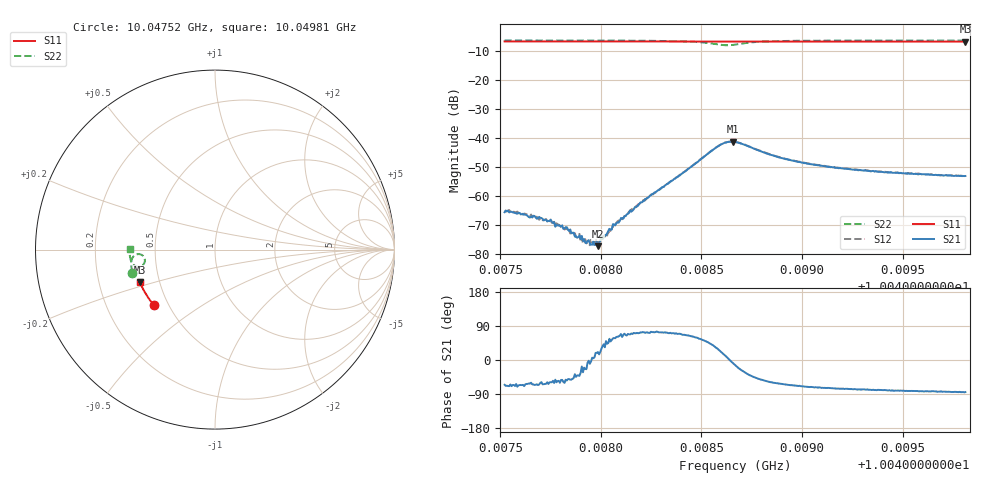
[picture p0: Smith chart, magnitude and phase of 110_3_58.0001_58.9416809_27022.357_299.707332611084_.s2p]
#  HZ  S  RI  R  50.00
! Rohde & Schwarz Vector Network Analyzer
! Rohde-Schwarz,ZNB20-2Port,1311601062101988,3.16
! Created: UTC 3/21/2024, 12:55:11 AM
! freq[Hz]  re:S11  im:S11  re:S21  im:S21  re:S12  im:S12  re:S22  im:S22
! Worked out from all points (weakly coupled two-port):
!   401 points, 10.04752 GHz to 10.04981 GHz, reference 50 ohm
!   highest |S21| = -41.32 dB at 10.04866 GHz (marker M1); lowest = -77.4 dB at 10.04798 GHz (marker M2)
!   lowest |S11| = -6.8 dB at 10.04981 GHz (marker M3), VSWR 2.68, Z = 19.4 - j8.95 ohm
!   |S11| at or under -10 dB: nowhere
!   |S22| runs from -8.1 to -6.4 dB; largest |S21 - S12| = 0.00057
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1.0047521e10  -0.3387 -0.3113  0.000217 -0.000475  0.000254 -0.00047  -0.4604 -0.1277
1.004763e10  -0.3434 -0.3056  0.00021 -0.000415  0.00022 -0.000425  -0.4621 -0.1198
1.0047756e10  -0.3489 -0.2992  0.000185 -0.000306  0.000184 -0.000289  -0.464 -0.1106
1.0047784e10  -0.3501 -0.2977  0.000175 -0.000254  0.000181 -0.000267  -0.4642 -0.1084
1.0047836e10  -0.3522 -0.295  0.000168 -0.000204  0.00018 -0.000185  -0.465 -0.1042
1.0047876e10  -0.3538 -0.2928  0.000143 -0.00014  0.000156 -0.000116  -0.4655 -0.1013
1.0047905e10  -0.3551 -0.2915  0.000194 -5.97e-05  0.000165 -9.04e-05  -0.4658 -0.0988
1.0047933e10  -0.3561 -0.2899  0.000165 -2.07e-05  0.000157 -1.64e-05  -0.466 -0.0966
1.0047962e10  -0.3573 -0.2883  0.000164 1.34e-05  0.000144 5.16e-06  -0.4664 -0.0942
1.0047985e10  -0.3582 -0.2872  0.000127 4.8e-05  0.000141 7.31e-05  -0.4664 -0.0923
1.0048042e10  -0.3604 -0.2841  0.000151 0.000224  0.000126 0.000181  -0.4668 -0.0874
1.0048071e10  -0.3616 -0.2825  0.000166 0.00026  0.000155 0.000276  -0.467 -0.0849
1.0048151e10  -0.3647 -0.2782  0.000182 0.000502  0.000177 0.000552  -0.4671 -0.0771
1.0048289e10  -0.3698 -0.2708  0.00037 0.00121  0.000314 0.00123  -0.4657 -0.0618
1.0048581e10  -0.38 -0.2542  0.00621 0.00347  0.006 0.00386  -0.408 -0.0298
1.0048621e10  -0.3811 -0.2523  0.00816 0.00147  0.00813 0.00197  -0.3921 -0.0498
1.0048655e10  -0.3823 -0.2507  0.00851 -0.00115  0.0086 -0.000588  -0.393 -0.0732
1.0048667e10  -0.3827 -0.25  0.00825 -0.00197  0.00841 -0.00142  -0.3966 -0.0798
1.0048884e10  -0.3907 -0.238  0.00214 -0.00408  0.00244 -0.004  -0.4602 -0.0777
1.004905e10  -0.3962 -0.2282  0.00112 -0.0033  0.00132 -0.00326  -0.4698 -0.0573
1.0049434e10  -0.4075 -0.2058  0.000445 -0.00248  0.000583 -0.00246  -0.4755 -0.0234
1.0049812e10  -0.4177 -0.1828  0.000203 -0.00219  0.000295 -0.00216  -0.4763 0.00476
